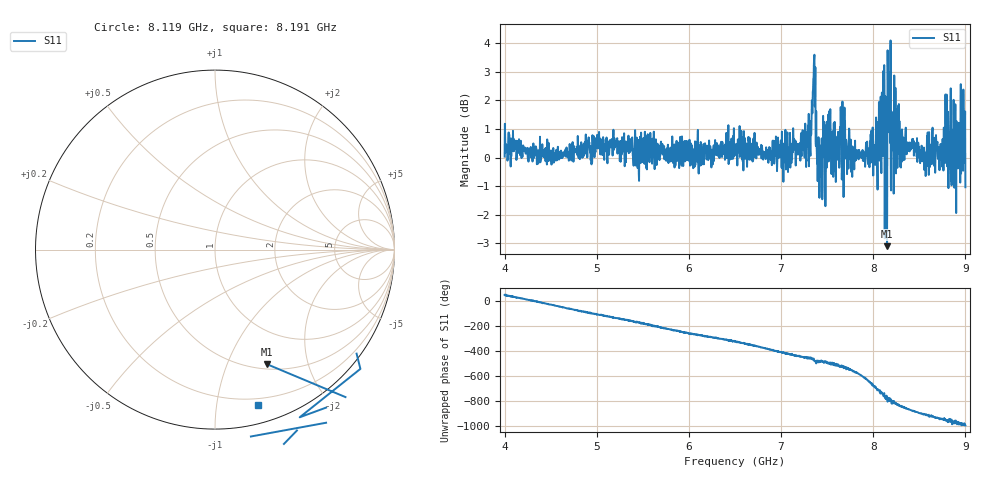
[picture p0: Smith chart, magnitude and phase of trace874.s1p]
! Created with skrf 1.8.0 (http://scikit-rf.org).
# Hz S RI R 50.0
!freq ReS11 ImS11
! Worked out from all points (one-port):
!   1601 points, 4 GHz to 9 GHz, reference 50 ohm
!   lowest |S11| = -3.1 dB at 8.15 GHz (marker M1), VSWR 5.67, Z = 27.9 - j69.9 ohm
!   |S11| at or under -10 dB: nowhere
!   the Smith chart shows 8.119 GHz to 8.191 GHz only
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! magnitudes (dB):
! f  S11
! 4 GHz  0.0
! 4.625 GHz  0.0
! 5.25 GHz  -0.1
! 5.875 GHz  0.1
! 6.5 GHz  0.2
! 7.125 GHz  0.2
! 7.294 GHz  0.9
! 7.347 GHz  2.4
! 7.369 GHz  2.0
! 7.4 GHz  -0.2
! 7.412 GHz  -0.2
! 7.512 GHz  1.5
! 7.609 GHz  -0.1
! 7.662 GHz  -0.1
! 7.75 GHz  0.0
! 8.022 GHz  -0.3
! 8.066 GHz  0.2
! 8.097 GHz  1.4
! 8.15 GHz  -3.1
! 8.178 GHz  1.8
! 8.216 GHz  1.1
! 8.375 GHz  0.5
! 8.553 GHz  0.2
! 8.738 GHz  0.4
! 8.816 GHz  -1.1
! 8.919 GHz  -0.4
! 8.972 GHz  0.7
! 9 GHz  -1.0
